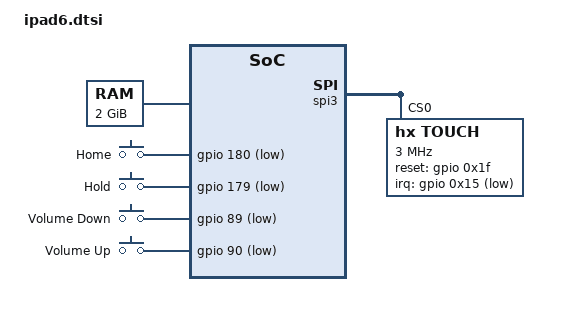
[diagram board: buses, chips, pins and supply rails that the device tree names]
// SPDX-License-Identifier: GPL-2.0
/*
 * Apple iPad 6 (J71b / J72b, A10 T8010) board for the Project Sandcastle
 * kernel.
 *
 * What is known to match iPhone 7 (same SoC) and is enabled:
 *   CPUs + cpufreq, AIC, GPIO, UARTs, PMGR clocks, I2C/SPI controllers,
 *   USB device port (USB ethernet gadget), watchdog reboot, and the
 *   framebuffer that pongoOS inserts (simple-framebuffer).
 *
 * Multitouch is enabled from the iPad's own Apple device tree
 * (DeviceTree.j71bap, arm-io/spi3/multi-touch): every pin below is used by
 * that node alone, and its power comes from two GPIOs, not from PMIC
 * registers. ipad-touchd (overlay/touch) switches that power on and loads
 * the controller's firmware.
 *
 * Board-level hardware whose wiring on iPad 6 is not known is NOT enabled,
 * so the kernel never drives an unknown PMIC rail or GPIO:
 *   - display PMU / MIPI-DSI panel power (iPad 6 uses eDP, not DSI;
 *     iBoot leaves the panel and backlight on, simplefb draws to it)
 *   - battery gauge, charger, PMU RTC
 *   - PCIe (NVMe + Wi-Fi): endpoint power GPIOs and the NVMe SART carve-out
 *     are board-specific; the root filesystem is the ramdisk baked into
 *     Linux.lzma, so storage is not needed to boot.
 *   - Bluetooth (UART1 child; GPIOs are board-specific)
 *
 * Button GPIOs are from the mainline Linux iPad 6 tree
 * (arch/arm64/boot/dts/apple/t8010-ipad6.dtsi); the hx,gpio controller uses
 * the same pin numbering as mainline's pinctrl_ap (same block, 0x20f100000).
 */

#include "t8010-sandcastle.dtsi"

#define GPIO_ACTIVE_LOW 1
#define KEY_HOME        102
#define KEY_VOLUMEDOWN  114
#define KEY_VOLUMEUP    115
#define KEY_POWER       116

/ {
	/* iPad 6 has 2 GiB, same as iPhone 7. */
	memory@800000000 {
		device_type = "memory";
		reg = <0x8 0x00000000 0x0 0x80000000>;
	};

	reserved-memory {
		#address-cells = <2>;
		#size-cells = <2>;
		ranges;

		boot_area@800010000 {
			reg = <0x8 0x00010000 0x0 0x70000>;
		};

		/*
		 * iBoot's carve-out at the top of DRAM (firmware, framebuffer).
		 * iPhone 7 reserves the top 48 MiB. The iPad 6 framebuffer is
		 * 1536x2048x4 (12 MiB, ~3x the phone's), so reserve 128 MiB to
		 * be safe. If the screen shows garbage after boot, the
		 * framebuffer lies below this; raise the size.
		 */
		fw_area@878000000 {
			reg = <0x8 0x78000000 0x0 0x08000000>;
			no-map;
		};
	};

	gpio-keys {
		compatible = "gpio-keys";

		home {
			label = "Home";
			gpios = <&gpio 180 GPIO_ACTIVE_LOW>;
			linux,code = <KEY_HOME>;
		};

		hold {
			label = "Hold";
			gpios = <&gpio 179 GPIO_ACTIVE_LOW>;
			linux,code = <KEY_POWER>;
		};

		voldown {
			label = "Volume Down";
			gpios = <&gpio 89 GPIO_ACTIVE_LOW>;
			linux,code = <KEY_VOLUMEDOWN>;
		};

		volup {
			label = "Volume Up";
			gpios = <&gpio 90 GPIO_ACTIVE_LOW>;
			linux,code = <KEY_VOLUMEUP>;
		};
	};
};

/* multi-touch "function-clock_enable" asks PMGR TCLK for 24 MHz (iPhone 7:
 * 32768 Hz), i.e. divider 1 from the 24 MHz reference. */
&touchclk {
	clock-frequency = <24000000>;
};

&spi3 {
	touch: touch@0 {
		compatible = "hx,touch";
		reg = <0x0>;
		spi-max-frequency = <3000000>;
		/* No hv-/core-supply: the Sandcastle kernel has no regulator-fixed
		 * driver, so the driver gets dummy regulators and ipad-touchd
		 * switches the two power GPIOs itself (power_ana 0x91, then
		 * power_ldo 0x1d) through /sys/class/gpio. */
		reset-gpios = <&gpio 0x1f 0>;	/* function-reset */
		cs-gpios = <&gpio 0x55 0>;	/* function-enable_cs */
		irq-gpios = <&gpio 0x15 1>;	/* interrupts = <0x15> */
		clocks = <&touchclk>;
		/* Report read protocol: 1 as on iPod touch 7, 2 as on iPhone 7.
		 * The palera1n tree lets the shim set it at boot. */
		generation = <2>;
	};
};
